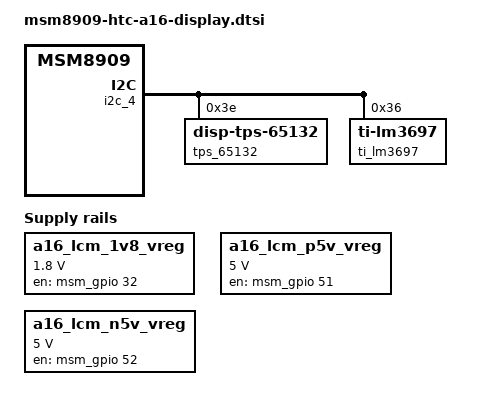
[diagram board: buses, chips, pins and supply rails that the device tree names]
/* Copyright (c) 2026, LineageOS Project.
 *
 * This program is free software; you can redistribute it and/or modify
 * it under the terms of the GNU General Public License version 2 and
 * only version 2 as published by the Free Software Foundation.
 *
 * This program is distributed in the hope that it will be useful,
 * but WITHOUT ANY WARRANTY; without even the implied warranty of
 * MERCHANTABILITY or FITNESS FOR A PARTICULAR PURPOSE.  See the
 * GNU General Public License for more details.
 */

#include "dsi-panel-hx8394d-a16-720p-video.dtsi"
#include "dsi-panel-hx8394d-a16-mr-truly-720p-video.dtsi"
#include "dsi-panel-hx8394d-a16-success-720p-video.dtsi"
#include "dsi-panel-hx8394f-a16-truly-720p-video.dtsi"
#include "dsi-panel-hx8394f-a16-success-720p-video.dtsi"

&mdss_mdp {
	qcom,mdss-pref-prim-intf = "dsi";
};

&mdss_dsi0 {
	qcom,dsi-pref-prim-pan = <&dsi_hx8394d_a16_720_vid>;
	pinctrl-names = "mdss_default", "mdss_sleep";
	pinctrl-0 = <&mdss_dsi_active &mdss_te_active>;
	pinctrl-1 = <&mdss_dsi_suspend &mdss_te_suspend>;

	qcom,platform-reset-gpio = <&msm_gpio 25 0>;
	qcom,platform-bklight-en-gpio = <&msm_gpio 110 0>;

	qcom,platform-regulator-settings = [02 09 03 00 20 00 01];
};

&soc {
	a16_lcm_1v8_vreg: a16_lcm_1v8_vreg {
		compatible = "regulator-fixed";
		regulator-name = "a16_lcm_1v8";
		regulator-min-microvolt = <1800000>;
		regulator-max-microvolt = <1800000>;
		gpio = <&msm_gpio 32 0>;
		enable-active-high;
		regulator-boot-on;
		regulator-always-on;
	};

	a16_lcm_p5v_vreg: a16_lcm_p5v_vreg {
		compatible = "regulator-fixed";
		regulator-name = "a16_lcm_p5v";
		regulator-min-microvolt = <5000000>;
		regulator-max-microvolt = <5000000>;
		gpio = <&msm_gpio 51 0>;
		enable-active-high;
		regulator-boot-on;
		regulator-always-on;
	};

	a16_lcm_n5v_vreg: a16_lcm_n5v_vreg {
		compatible = "regulator-fixed";
		regulator-name = "a16_lcm_n5v";
		regulator-min-microvolt = <5000000>;
		regulator-max-microvolt = <5000000>;
		gpio = <&msm_gpio 52 0>;
		enable-active-high;
		regulator-boot-on;
		regulator-always-on;
	};
};

&i2c_4 {
	tps_65132@3e {
		compatible = "disp-tps-65132";
		reg = <0x3e>;
	};

	ti_lm3697@36 {
		compatible = "ti-lm3697";

		reg = <0x36>;

		pwm-cfg = <0x00>;
		boost-ctl = <0x03>;
		brightness-cfg = <0x01>;
		ctl-bank-en = <0x02>;
	};
};
